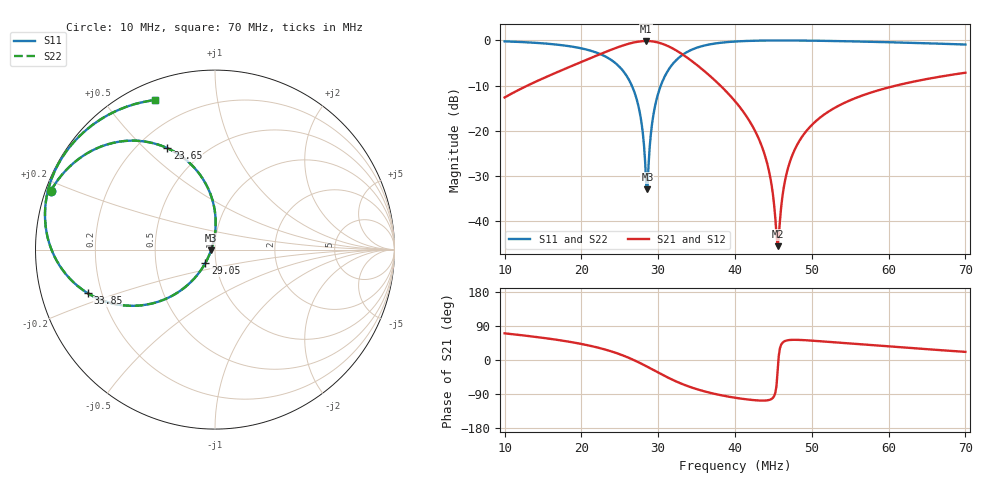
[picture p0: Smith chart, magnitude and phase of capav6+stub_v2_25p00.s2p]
! Touchstone file exported from HFSS 2025.2.0
!  File:  C:/Users/32474/OneDrive - UCL/Documents/Ingenieur/MASTER1/Stage/HFSS/capav6+stub.aedt
!  Generated:  07:30:16 PM Jul 17, 2026
!  Design:  HFSSDesign1
!  Project:  capav6+stub
!  Setup:  Setup4
!  Solution:  Sweep
# GHz S MA R 50.000000
! Terminal data exported
! Port[1] = capa_25p00_v2_1_1
! Port[2] = capa_25p00_v2_1_2
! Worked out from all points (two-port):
!   401 points, 10 MHz to 70 MHz, reference 50 ohm
!   highest |S21| = -0.17 dB at 28.45 MHz (marker M1); lowest = -45.4 dB at 45.55 MHz (marker M2)
!   |S21| within 3 dB of the highest: 22.29 MHz to 33.21 MHz (10.91 MHz wide, 39.3 % of centre)
!   lowest |S11| = -32.9 dB at 28.6 MHz (marker M3), VSWR 1.05, Z = 47.8 - j0.449 ohm
!   |S11| at or under -10 dB: 26.56 MHz to 30.34 MHz (3.78 MHz wide, 13.3 % of centre)
!   |S22| runs from -32.9 to 0.0 dB; largest |S21 - S12| = 1e-14
!   S11 on the Smith chart (normalised r, x): 10 MHz: 0.01, +0.17; 23.65 MHz: 0.32, +0.59; 29.05 MHz: 0.89, -0.14; 33.85 MHz: 0.15, -0.16; 70 MHz: 0.08, +0.67
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0.01  0.972 160.4  0.2336 70.4  0.2336 70.4  0.972 160.4
! Gamma 4.29697051666312E-05 0.209627589892663 4.3677466973427E-05 0.209628337336156
! Port Impedance 50 0 50 0
0.02005  0.8118 132.5  0.5788 42.1  0.5788 42.1  0.8118 132.5
0.02365  0.624 115.1  0.7723 24.3  0.7723 24.3  0.624 115.1
0.02695  0.2604 92.2  0.9499 -1.3  0.9499 -1.3  0.2604 92.2
0.0277  0.1435 88.5  0.9722 -8.6  0.9722 -8.6  0.1435 88.4
0.02845  0.02449 126.0  0.9805 -16.4  0.9805 -16.4  0.02436 125.7
0.0286  0.02276 -168.1  0.9802 -18.0  0.9802 -18.0  0.02261 -167.9
0.02905  0.09336 -125.7  0.9751 -22.8  0.9751 -22.8  0.09332 -125.6
0.0295  0.1722 -124.9  0.9636 -27.7  0.9636 -27.7  0.1722 -124.9
0.0301  0.2762 -128.9  0.9386 -34.2  0.9386 -34.2  0.2761 -128.9
0.0316  0.5088 -142.5  0.8362 -49.7  0.8362 -49.7  0.5087 -142.5
0.03385  0.749 -161.0  0.6359 -69.0  0.6359 -69.0  0.749 -161.1
0.03655  0.8948 -177.5  0.4172 -85.6  0.4172 -85.6  0.8948 -177.5
0.04  0.9682 168.1  0.2126 -99.6  0.2126 -99.6  0.9682 168.0
0.04375  0.9921 156.9  0.05863 -107.1  0.05863 -107.1  0.9921 156.8
0.04465  0.9938 154.6  0.02884 -104.0  0.02884 -104.0  0.9938 154.6
0.04555  0.9946 152.4  0.005342 -30.1  0.005342 -30.1  0.9946 152.4
0.04645  0.9946 150.4  0.0265 49.5  0.0265 49.5  0.9946 150.4
0.0472  0.9941 148.8  0.04696 52.9  0.04696 52.9  0.9941 148.7
0.05005  0.989 143.0  0.1173 51.0  0.1173 51.0  0.9891 143.0
0.0601  0.9504 126.0  0.3029 35.5  0.3029 35.5  0.9504 126.0
0.07  0.8969 111.7  0.4381 21.5  0.4381 21.5  0.8969 111.7
